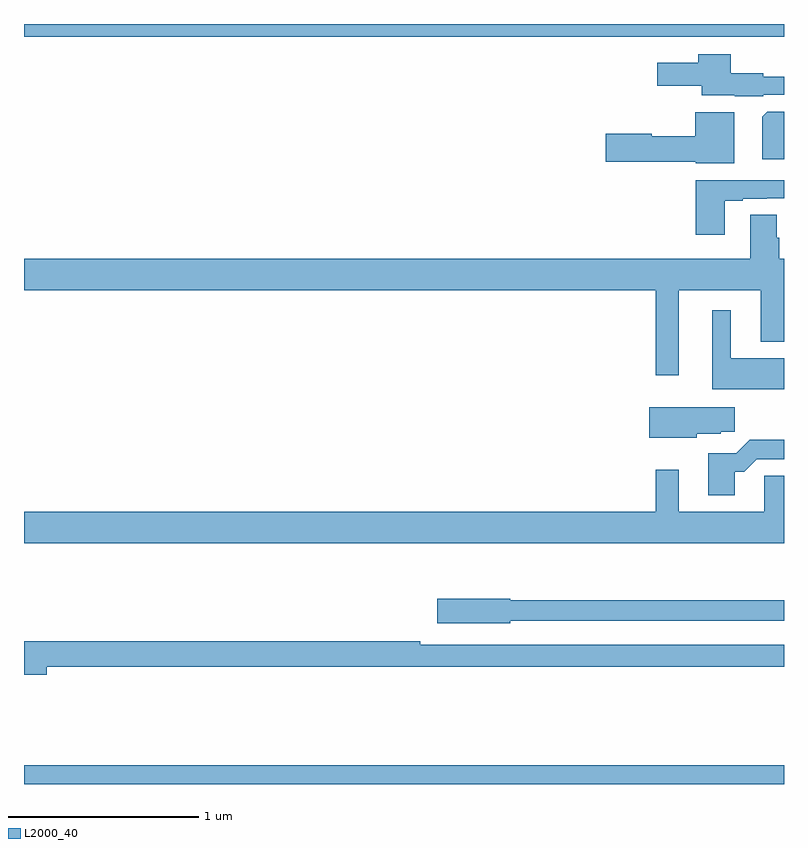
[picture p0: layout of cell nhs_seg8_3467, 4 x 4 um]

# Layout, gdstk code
import gdstk
lib = gdstk.Library(unit=1e-6, precision=1e-09)
def R(c, l, rs):  # rectangles x0, y0, x1, y1
    for r in rs: c.add(gdstk.rectangle(r[:2], r[2:], *l))
def P(c, l, *ps):  # polygons
    for p in ps: c.add(gdstk.Polygon(p, *l))
L2000_40 = (2000, 40)

nhs_seg8_3467 = lib.new_cell('nhs_seg8_3467')
R(nhs_seg8_3467, L2000_40, [(325,1113.9,329,1114), (325,1117.832,329,1117.9)])
P(nhs_seg8_3467, L2000_40, [(328.89,1117.527),(329,1117.527),(329,1117.623),(328.89,1117.623),(328.89,1117.642),(328.72,1117.642),(328.72,1117.741),(328.549,1117.741),(328.549,1117.696),(328.332,1117.696),(328.332,1117.574),(328.568,1117.574),(328.568,1117.526),(328.74,1117.526),(328.74,1117.52),(328.89,1117.52)],
  [(329,1117.438),(328.912,1117.438),(328.886,1117.412),(328.886,1117.187),(329,1117.187)],
  [(328.738,1117.436),(328.532,1117.436),(328.532,1117.309),(328.305,1117.309),(328.305,1117.322),(328.062,1117.322),(328.062,1117.175),(328.536,1117.175),(328.536,1117.166),(328.738,1117.166)],
  [(328.687,1116.969),(328.783,1116.969),(328.783,1116.981),(328.91,1116.981),(328.91,1116.984),(329,1116.984),(329,1117.078),(328.535,1117.078),(328.535,1116.792),(328.687,1116.792)],
  [(328.447,1116.5),(328.877,1116.5),(328.877,1116.227),(329,1116.227),(329,1116.664),(328.976,1116.664),(328.976,1116.774),(328.962,1116.774),(328.962,1116.896),(328.823,1116.896),(328.823,1116.664),(325,1116.664),(325,1116.5),(328.326,1116.5),(328.326,1116.051),(328.447,1116.051)],
  [(329,1116.142),(328.72,1116.142),(328.72,1116.394),(328.622,1116.394),(328.622,1115.978),(329,1115.978)],
  [(328.542,1115.744),(328.668,1115.744),(328.668,1115.755),(328.741,1115.755),(328.741,1115.884),(328.292,1115.884),(328.292,1115.723),(328.542,1115.723)],
  [(328.741,1115.543),(328.79,1115.543),(328.857,1115.61),(329,1115.61),(329,1115.711),(328.82,1115.711),(328.749,1115.64),(328.601,1115.64),(328.601,1115.421),(328.741,1115.421)],
  [(329,1115.522),(328.896,1115.522),(328.896,1115.332),(328.447,1115.332),(328.447,1115.554),(328.326,1115.554),(328.326,1115.332),(325,1115.332),(325,1115.168),(329,1115.168)],
  [(327.558,1114.758),(329,1114.758),(329,1114.867),(327.558,1114.867),(327.558,1114.875),(327.174,1114.875),(327.174,1114.745),(327.558,1114.745)],
  [(325.12,1114.516),(329,1114.516),(329,1114.632),(327.086,1114.632),(327.086,1114.652),(325,1114.652),(325,1114.474),(325.12,1114.474)])

lib.write_gds('nhs_seg8_3467.gds')
